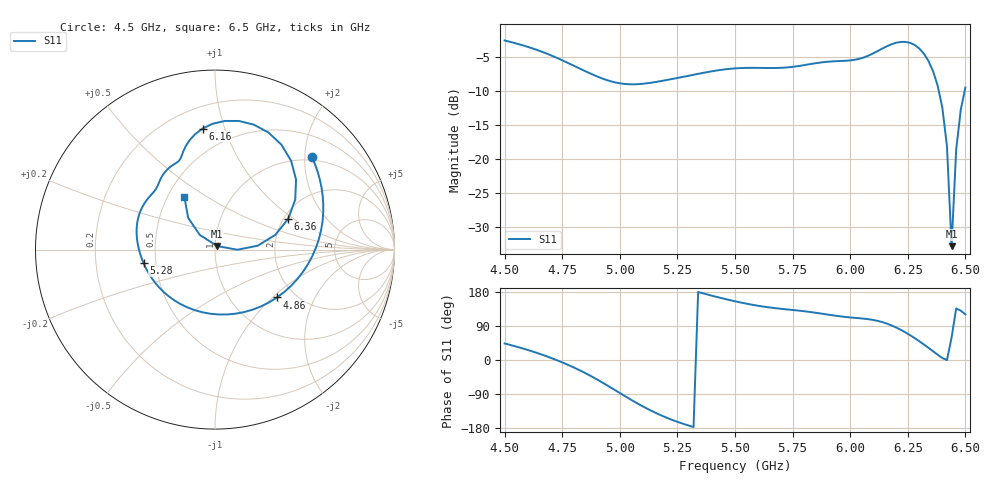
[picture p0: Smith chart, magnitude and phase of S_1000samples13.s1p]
! TOUCHSTONE file generated by CST MICROWAVE STUDIO
! Date and time: Wed Oct 26 16:52:07 2022
! Project name: L.cst
! Parameters = {Di=1.27; Epsilon_r=1.56; InnerDiameter=1.27; Length=2; Lf=10; Lg=60; OuterConductorThickness=0.2921; OuterDiameter=3.6; Wf=3; Wp=41.2; de=1.5; df=6.8; g=0.8; gx=2.49854; gy=0.71807; h=2.34; hf=1.524; px=12.7231; py=11.457; w=9.7; wx=10.2245; wy=10.7389}
! Header version: 2018
! Port assignment regex: !\s*Touchstone port\s*([0-9]+)\s*=\s*(CST MWS port|CST DS port)\s*([0-9]+|Zmin|Zmax)\s*\(\"(.*)\"\)(\s*mode\s*([0-9]+))?.*
! Touchstone port assignment:
! Touchstone port 1 = CST MWS port 1 ("")
# GHz S DB R 50
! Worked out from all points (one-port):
!   101 points, 4.5 GHz to 6.5 GHz, reference 50 ohm
!   lowest |S11| = -32.8 dB at 6.44 GHz (marker M1), VSWR 1.05, Z = 51.2 + j2.02 ohm
!   |S11| at or under -10 dB: 6.385 GHz to 6.497 GHz (111.7 MHz wide, 1.73 % of centre)
!   S11 on the Smith chart (normalised r, x): 4.5 GHz: 0.93, +2.16; 4.86 GHz: 1.62, -1.07; 5.28 GHz: 0.43, -0.08; 6.16 GHz: 0.34, +0.84; 6.36 GHz: 2.12, +0.90; 6.5 GHz: 0.61, +0.40
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4.5  -2.53 43.7
4.64  -3.92 18.7
4.76  -5.60 -8.8
4.86  -7.20 -37.6
4.94  -8.31 -65.0
5  -8.83 -87.1
5.14  -8.72 -134.9
5.26  -7.98 -165.3
5.28  -7.85 -169.4
5.4  -7.06 169.6
5.5  -6.64 155.0
5.6  -6.56 143.1
5.76  -6.37 131.4
6  -5.46 112.3
6.1  -4.43 105.6
6.16  -3.38 95.9
6.22  -2.75 79.5
6.26  -2.89 65.5
6.3  -3.72 49.4
6.32  -4.48 40.8
6.36  -7.08 22.8
6.38  -9.22 13.7
6.4  -12.43 5.2
6.42  -18.07 -0.3
6.44  -32.75 59.2
6.46  -18.58 136.1
6.48  -12.70 130.2
6.5  -9.44 120.3
